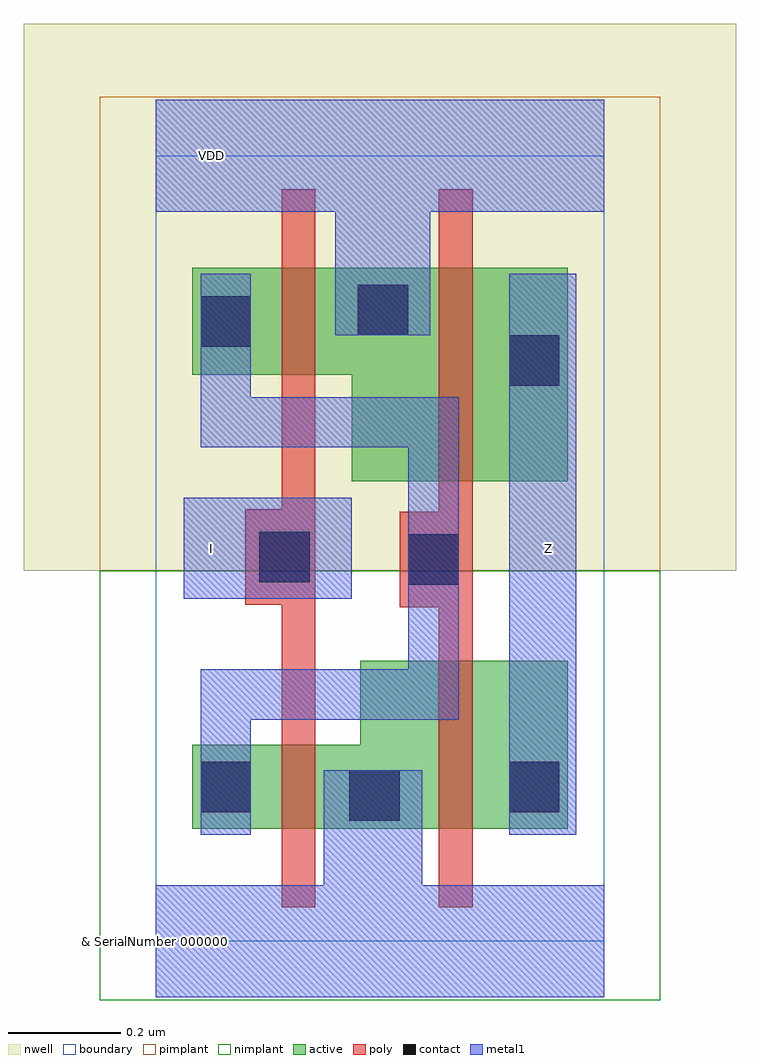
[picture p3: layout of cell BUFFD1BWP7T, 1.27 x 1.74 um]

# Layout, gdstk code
import gdstk
lib = gdstk.Library(unit=1e-6, precision=1e-09)
def R(c, l, rs):  # rectangles x0, y0, x1, y1
    for r in rs: c.add(gdstk.rectangle(r[:2], r[2:], *l))
def P(c, l, *ps):  # polygons
    for p in ps: c.add(gdstk.Polygon(p, *l))
nwell = (3, 0)
active = (6, 0)
poly = (17, 0)
pimplant = (25, 0)
nimplant = (26, 0)
contact = (30, 0)
metal1 = (31, 0)
boundary = (108, 0)

buffd1bwp7t = lib.new_cell('BUFFD1BWP7T')
R(buffd1bwp7t, nwell, [(-0.235,0.66,1.035,1.635)])
P(buffd1bwp7t, active, [(0.35,0.82),(0.35,1.01),(0.065,1.01),(0.065,1.2),(0.735,1.2),(0.735,0.82)],
  [(0.065,0.2),(0.065,0.35),(0.365,0.35),(0.365,0.5),(0.735,0.5),(0.735,0.2)])
P(buffd1bwp7t, poly, [(0.225,0.06),(0.225,0.6),(0.16,0.6),(0.16,0.77),(0.225,0.77),(0.225,1.34),(0.285,1.34),(0.285,0.06)],
  [(0.505,0.06),(0.505,0.595),(0.435,0.595),(0.435,0.765),(0.505,0.765),(0.505,1.34),(0.565,1.34),(0.565,0.06)])
R(buffd1bwp7t, pimplant, [(-0.1,0.66,0.9,1.505)])
R(buffd1bwp7t, nimplant, [(-0.1,-0.105,0.9,0.66)])
R(buffd1bwp7t, contact, [(0.345,0.215,0.435,0.305), (0.08,0.23,0.17,0.32), (0.63,0.23,0.72,0.32), (0.45,0.635,0.54,0.725), (0.185,0.64,0.275,0.73), (0.63,0.99,0.72,1.08), (0.08,1.06,0.17,1.15), (0.36,1.08,0.45,1.17)])
R(buffd1bwp7t, metal1, [(0.63,0.19,0.75,1.19), (0.05,0.61,0.35,0.79)])
P(buffd1bwp7t, metal1, [(0.08,0.19),(0.08,0.485),(0.45,0.485),(0.45,0.88),(0.08,0.88),(0.08,1.19),(0.17,1.19),(0.17,0.97),(0.54,0.97),(0.54,0.395),(0.17,0.395),(0.17,0.19)],
  [(0,-0.1),(0,0.1),(0.3,0.1),(0.3,0.305),(0.475,0.305),(0.475,0.1),(0.8,0.1),(0.8,-0.1)],
  [(0.32,1.08),(0.32,1.3),(0,1.3),(0,1.5),(0.8,1.5),(0.8,1.3),(0.49,1.3),(0.49,1.08)])
R(buffd1bwp7t, boundary, [(0,0,0.8,1.4)])
buffd1bwp7t.add(gdstk.Label('& SerialNumber 000000', (0,0), layer=63, texttype=63))
buffd1bwp7t.add(gdstk.Label('& Distributor TSMC', (0,0), layer=63, texttype=63))
buffd1bwp7t.add(gdstk.Label('& Metric 1.120', (0,0), layer=63, texttype=63))
buffd1bwp7t.add(gdstk.Label('& _Instance_tag BUFFD1BWP7T', (0,0), layer=63, texttype=63))
buffd1bwp7t.add(gdstk.Label('& Version 141a', (0,0), layer=63, texttype=63))
buffd1bwp7t.add(gdstk.Label('& Product tcbn65lpbwp7t', (0,0), layer=63, texttype=63))
buffd1bwp7t.add(gdstk.Label('& Vendor Taiwan Semiconductor Manufacturing Corp.', (0,0), layer=63, texttype=63))
buffd1bwp7t.add(gdstk.Label('& SerialNumber 000000', (0,0), layer=6, texttype=0))
buffd1bwp7t.add(gdstk.Label('& Distributor TSMC', (0,0), layer=6, texttype=0))
buffd1bwp7t.add(gdstk.Label('& Metric 1.120', (0,0), layer=6, texttype=0))
buffd1bwp7t.add(gdstk.Label('& _Instance_tag BUFFD1BWP7T', (0,0), layer=6, texttype=0))
buffd1bwp7t.add(gdstk.Label('& Version 141a', (0,0), layer=6, texttype=0))
buffd1bwp7t.add(gdstk.Label('& Product tcbn65lpbwp7t', (0,0), layer=6, texttype=0))
buffd1bwp7t.add(gdstk.Label('& Vendor Taiwan Semiconductor Manufacturing Corp.', (0,0), layer=6, texttype=0))
buffd1bwp7t.add(gdstk.Label('BUFFD1BWP7T', (0,0), layer=127, texttype=0))
buffd1bwp7t.add(gdstk.Label('I', (0.1,0.7), layer=131, texttype=0))
buffd1bwp7t.add(gdstk.Label('Z', (0.7,0.7), layer=131, texttype=0))
buffd1bwp7t.add(gdstk.Label('VDD', (0.1,1.4), layer=131, texttype=0))
buffd1bwp7t.add(gdstk.Label('VSS', (0.1,0), layer=131, texttype=0))

lib.write_gds('BUFFD1BWP7T.gds')
